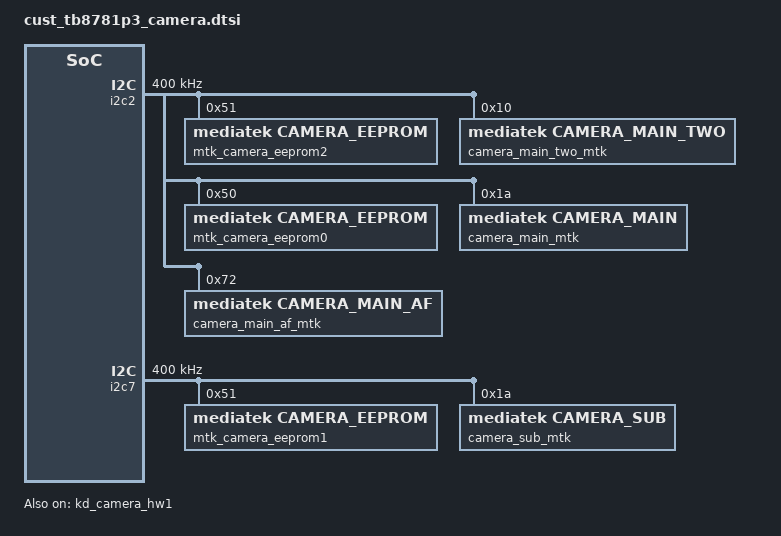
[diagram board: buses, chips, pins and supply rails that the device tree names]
// SPDX-License-Identifier: GPL-2.0
/* Copyright (c) 2022 MediaTek Inc. */
/* CAMERA GPIO standardization */
&pio {
	camera_pins_cam0_rst_0: cam0@0 {
		pins-cmd-dat {
			pinmux = <PINMUX_GPIO18__FUNC_GPIO18>;
			slew-rate = <1>;
			output-low;
		};
	};
	camera_pins_cam0_rst_1: cam0@1 {
		pins-cmd-dat {
			pinmux = <PINMUX_GPIO18__FUNC_GPIO18>;
			slew-rate = <1>;
			output-high;
		};
	};
	camera_pins_cam1_rst_0: cam1@0 {
		pins-cmd-dat {
			pinmux = <PINMUX_GPIO16__FUNC_GPIO16>;
			slew-rate = <1>;
			output-low;
		};
	};
	camera_pins_cam1_rst_1: cam1@1 {
		pins-cmd-dat {
			pinmux = <PINMUX_GPIO16__FUNC_GPIO16>;
			slew-rate = <1>;
			output-high;
		};
	};

	camera_pins_cam0_mclk_off: camera-pins-cam0-mclk-off {
		pins-cmd-dat {
			pinmux = <PINMUX_GPIO127__FUNC_GPIO127>;
			drive-strength = <1>;
		};
	};
	camera_pins_cam0_mclk_2ma: camera-pins-cam0-mclk-2ma {
		pins-cmd-dat {
			pinmux = <PINMUX_GPIO127__FUNC_CMMCLK1>;
			drive-strength = <0>;
		};
	};
	camera_pins_cam0_mclk_4ma: camera-pins-cam0-mclk-4ma {
		pins-cmd-dat {
			pinmux = <PINMUX_GPIO127__FUNC_CMMCLK1>;
			drive-strength = <1>;
		};
	};
	camera_pins_cam0_mclk_6ma: camera-pins-cam0-mclk-6ma {
		pins-cmd-dat {
			pinmux = <PINMUX_GPIO127__FUNC_CMMCLK1>;
			drive-strength = <2>;
		};
	};
	camera_pins_cam0_mclk_8ma: camera-pins-cam0-mclk-8ma {
		pins-cmd-dat {
			pinmux = <PINMUX_GPIO127__FUNC_CMMCLK1>;
			drive-strength = <3>;
		};
	};
	camera_pins_cam1_mclk_off: camera-pins-cam1-mclk-off {
		pins-cmd-dat {
			pinmux = <PINMUX_GPIO126__FUNC_GPIO126>;
			drive-strength = <1>;
		};
	};
	camera_pins_cam1_mclk_2ma: camera-pins-cam1-mclk-2ma {
		pins-cmd-dat {
			pinmux = <PINMUX_GPIO126__FUNC_CMMCLK0>;
			drive-strength = <0>;
		};
	};
	camera_pins_cam1_mclk_4ma: camera-pins-cam1-mclk-4ma {
		pins-cmd-dat {
			pinmux = <PINMUX_GPIO126__FUNC_CMMCLK0>;
			drive-strength = <1>;
		};
	};
	camera_pins_cam1_mclk_6ma: camera-pins-cam1-mclk-6ma {
		pins-cmd-dat {
			pinmux = <PINMUX_GPIO126__FUNC_CMMCLK0>;
			drive-strength = <2>;
		};
	};
	camera_pins_cam1_mclk_8ma: camera-pins-cam1-mclk-8ma {
		pins-cmd-dat {
			pinmux = <PINMUX_GPIO126__FUNC_CMMCLK0>;
			drive-strength = <3>;
		};
	};
		camera_pins_cam0_vcamd_0: cam0@vcam0 {
		pins_cmd_dat {
			pinmux = <PINMUX_GPIO8__FUNC_GPIO8>;
			slew-rate = <1>;
			output-low;
		};
	};
	camera_pins_cam0_vcamd_1: cam0@vcam1 {
		pins_cmd_dat {
			pinmux = <PINMUX_GPIO8__FUNC_GPIO8>;
			slew-rate = <1>;
			output-high;
		};
	};
	camera_pins_cam0_vcama_0: cam0@vcam2 {
		pins_cmd_dat {
			pinmux = <PINMUX_GPIO135__FUNC_GPIO135>;
			slew-rate = <1>;
			output-low;
		};
	};
	camera_pins_cam0_vcama_1: cam0@vcam3 {
		pins_cmd_dat {
			pinmux = <PINMUX_GPIO135__FUNC_GPIO135>;
			slew-rate = <1>;
			output-high;
		};
	};
	camera_pins_cam0_vcamio_0: cam0@vcam4 {
		pins_cmd_dat {
			pinmux = <PINMUX_GPIO10__FUNC_GPIO10>;
			slew-rate = <1>;
			output-low;
		};
	};
	camera_pins_cam0_vcamio_1: cam0@vcam5 {
		pins_cmd_dat {
			pinmux = <PINMUX_GPIO10__FUNC_GPIO10>;
			slew-rate = <1>;
			output-high;
		};
	};
	camera_pins_cam1_vcama_0: cam1@vcam0 {
		pins_cmd_dat {
			pinmux = <PINMUX_GPIO134__FUNC_GPIO134>;
			slew-rate = <1>;
			output-low;
		};
	};
	camera_pins_cam1_vcama_1: cam1@vcam1 {
		pins_cmd_dat {
			pinmux = <PINMUX_GPIO134__FUNC_GPIO134>;
			slew-rate = <1>;
			output-high;
		};
	};
	/*
	camera_pins_cam1_vcamio_0: cam1@vcam2 {
		pins_cmd_dat {
			pinmux = <PINMUX_GPIO37__FUNC_GPIO37>;
			slew-rate = <1>;
			output-low;
		};
	};
	camera_pins_cam1_vcamio_1: cam1@vcam3 {
		pins_cmd_dat {
			pinmux = <PINMUX_GPIO37__FUNC_GPIO37>;
			slew-rate = <1>;
			output-high;
		};
	};
	*/
	camera_pins_default: camdefault {
	};
};
&kd_camera_hw1 {
	pinctrl-names = "default",
			"cam0_rst0", "cam0_rst1",
			"cam1_rst0", "cam1_rst1",
			"cam0_mclk_off",
			"cam0_mclk_2mA", "cam0_mclk_4mA",
			"cam0_mclk_6mA", "cam0_mclk_8mA",
			"cam1_mclk_off",
			"cam1_mclk_2mA", "cam1_mclk_4mA",
			"cam1_mclk_6mA", "cam1_mclk_8mA",
			"cam0_ldo_vcamd_0", "cam0_ldo_vcamd_1",
			"cam0_ldo_vcama_0", "cam0_ldo_vcama_1",
			"cam1_ldo_vcama_0", "cam1_ldo_vcama_1";

	pinctrl-0 = <&camera_pins_default>;
	pinctrl-1 = <&camera_pins_cam0_rst_0>;
	pinctrl-2 = <&camera_pins_cam0_rst_1>;
	pinctrl-3 = <&camera_pins_cam1_rst_0>;
	pinctrl-4 = <&camera_pins_cam1_rst_1>;
	pinctrl-5 = <&camera_pins_cam0_mclk_off>;
	pinctrl-6 = <&camera_pins_cam0_mclk_2ma>;
	pinctrl-7 = <&camera_pins_cam0_mclk_4ma>;
	pinctrl-8 = <&camera_pins_cam0_mclk_6ma>;
	pinctrl-9 = <&camera_pins_cam0_mclk_8ma>;
	pinctrl-10 = <&camera_pins_cam1_mclk_off>;
	pinctrl-11 = <&camera_pins_cam1_mclk_2ma>;
	pinctrl-12 = <&camera_pins_cam1_mclk_4ma>;
	pinctrl-13 = <&camera_pins_cam1_mclk_6ma>;
	pinctrl-14 = <&camera_pins_cam1_mclk_8ma>;
	pinctrl-15 = <&camera_pins_cam1_mclk_6ma>;
	pinctrl-16 = <&camera_pins_cam1_mclk_8ma>;
	pinctrl-17 = <&camera_pins_cam2_mclk_off>;
	pinctrl-18 = <&camera_pins_cam2_mclk_2ma>;
	pinctrl-19 = <&camera_pins_cam2_mclk_4ma>;
	pinctrl-20 = <&camera_pins_cam2_mclk_6ma>;
	pinctrl-21 = <&camera_pins_cam2_mclk_8ma>;
        pinctrl-22 = <&camera_pins_cam0_vcamd_0>;
	pinctrl-23 = <&camera_pins_cam0_vcamd_1>;
	pinctrl-24 = <&camera_pins_cam0_vcama_0>;
	pinctrl-25 = <&camera_pins_cam0_vcama_1>;
	pinctrl-26 = <&camera_pins_cam1_vcama_0>;
	pinctrl-27 = <&camera_pins_cam1_vcama_1>;
/* Tab A9 code for SR-AX6739A-01-211 by rongyi at 20230508 start */
	cam0_vcamio-supply = <&mt6358_vsim2_reg>;
	cam1_vcamio-supply = <&mt6358_vsim2_reg>;
	cam0_vcamaf-supply = <&mt6358_vio28_reg>;
/* Tab A9 code for SR-AX6739A-01-762 by rongyi at 20230628 start */
	cam0_enable_sensor = "a0901backsc800csly_mipi_raw a0902backhi846st_mipi_raw a0903backc8490xsj_mipi_raw a0904backsc800csst_mipi_raw a0904backsc820csst_mipi_raw";
	cam1_enable_sensor = "a0901frontsc201csly_mipi_raw a0902frontc2599cxt_mipi_raw a0903frontbf2257xsj_mipi_raw";
/* Tab A9 code for SR-AX6739A-01-762 by rongyi at 20230628 end */
	cam0_pin_mclk = "mclk";
	cam0_pin_rst = "gpio";
	cam0_pin_vcama = "gpio";
	cam0_pin_vcamio = "regulator";
	cam0_pin_vcamd = "gpio";
	cam0_pin_vcamaf = "regulator";
	cam1_pin_mclk = "mclk";
	cam1_pin_rst = "gpio";
	cam1_pin_vcama = "gpio";
	cam1_pin_vcamio = "regulator";

	status = "okay";
	mtk_custom_project = "tb8781p2_64";
};
/* CAMERA GPIO end */

/* CAMERA EEPROM */
&i2c2 {
	status = "okay";
	clock-frequency = <400000>;
	#address-cells = <1>;
	#size-cells = <0>;

	mtk_camera_eeprom2:camera-eeprom2@51 {
		compatible = "mediatek,camera_eeprom";
		reg = <0x51>;
		status = "okay";
	};
	camera_main_two_mtk:camera-main-two@10 {
		compatible = "mediatek,camera_main_two";
		#thermal-sensor-cells = <0>;
		reg = <0x10>;
		status = "okay";
	};
};
&i2c2 {
	status = "okay";
	clock-frequency = <400000>;
	#address-cells = <1>;
	#size-cells = <0>;

	mtk_camera_eeprom0:camera-eeprom0@50 {
		compatible = "mediatek,camera_eeprom";
		reg = <0x50>;
		status = "okay";
	};
	camera_main_mtk:camera-main@1a {
		compatible = "mediatek,camera_main";
		#thermal-sensor-cells = <0>;
		reg = <0x1a>;
		status = "okay";
	};
	camera_main_af_mtk:camera-main-af@72 {
		compatible = "mediatek,camera_main_af";
		reg = <0x72>;
		status = "okay";
	};
};
&i2c7 {
	status = "okay";
	clock-frequency = <400000>;
	#address-cells = <1>;
	#size-cells = <0>;

	mtk_camera_eeprom1:camera-eeprom1@51 {
		compatible = "mediatek,camera_eeprom";
		reg = <0x51>;
		status = "okay";
	};
	camera_sub_mtk:camera-sub@1a {
		compatible = "mediatek,camera_sub";
		#thermal-sensor-cells = <0>;
		reg = <0x1a>;
		status = "okay";
	};
};
/* CAMERA EEPROM end */
